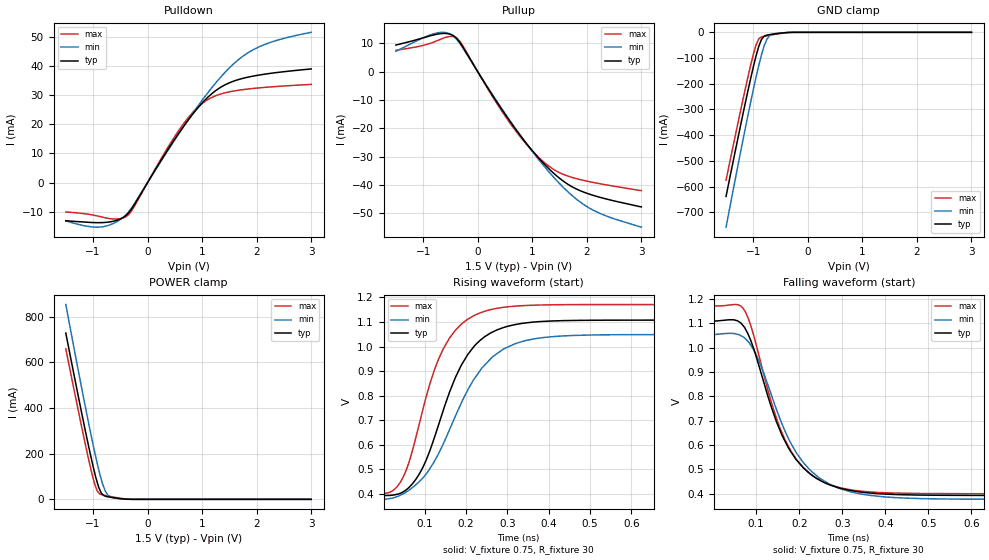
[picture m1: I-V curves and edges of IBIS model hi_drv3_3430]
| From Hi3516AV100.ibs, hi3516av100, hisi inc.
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|   Model hi_drv3_3430
[Model]   hi_drv3_3430
Model_type   I/O
Polarity   Non-Inverting
Enable   Active-High
Vinl = 0.575
Vinh = 0.925
Vmeas = 0.75
Cref = 0
Rref = 30
Vref = 0.75
| variable   typ   min   max
C_comp   3.71825p   3.5711p   3.88438p
| Subparameter   typ   min   max
[Model Spec]
Vinl   0.575   0.575   0.575
Vinh   0.925   0.925   0.925
Vmeas   0.75   0.75   0.75
Cref   0   0   0
Rref   30   30   30
Vref   0.75   0.75   0.75
| Variable   typ   min   max
[Temperature Range] 25   125   -40
| Variable   typ   min   max
[Voltage Range]   1.5   1.425   1.575
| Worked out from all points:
|   slope of the pulldown table from 0 to 0.225 V, typ, clamps not added: 32.4 ohm
|   slope of the pullup table from 0 to 0.225 V, typ, clamps not added: 32.3 ohm
|   GND clamp passes 1 mA (typ) near -0.39 V on its own axis
|   POWER clamp passes 1 mA (typ) near -0.41 V on its own axis
|   rising waveform, V_fixture 0.75, R_fixture 30: 20-80 % time 99.8ps typ, 123ps min, 87.3ps max; typ from 0.392 V to 1.11 V
|   falling waveform, V_fixture 0.75, R_fixture 30: 20-80 % time 95.3ps typ, 105ps min, 89.3ps max; typ from 1.11 V to 0.393 V
[Power_clamp]
| Note that the [POWER_clamp] voltage table is referenced to Vcc
| and is calculated using Vtable=Vcc - Vmeasured.
| Voltage   I(typ)   I(min)   I(max)
-1.5V     727.7mA    852.8mA    658.7mA
-1.125V   281.1mA    385.1mA    221.9mA
-1.025V   171mA      267.7mA    116.1mA
-975mV    120.3mA    211.6mA    70.26mA
-925mV    75.44mA    158.3mA    36.86mA
-900mV    54.88mA    133.8mA    29.99mA
-850mV    27.44mA    88.23mA    21.16mA
-775mV    14.07mA    35.68mA    16.66mA
-725mV    11.03mA    17.7mA     14.3mA
-625mV    7.126mA    6.658mA    9.778mA
-325mV    220.9uA    245.7uA    291.3uA
3V        -35.46nA   -806.7nA   -14.61nA
[Pulldown]
| Voltage   I(typ)   I(min)   I(max)
-1.5V     -13.14mA   -13.19mA   -10.14mA
-900mV    -13.81mA   -15.35mA   -11.6mA
-650mV    -13.41mA   -14.27mA   -12.51mA
-450mV    -12.06mA   -12.01mA   -12.19mA
-300mV    -9.257mA   -8.907mA   -9.903mA
600mV     17.73mA    17.57mA    18.66mA
850mV     24.05mA    24.39mA    24.58mA
1.05V     28.32mA    29.53mA    27.88mA
1.4V      33.4mA     37.49mA    30.75mA
1.85V     36.27mA    44.72mA    32.17mA
2.3V      37.66mA    48.48mA    32.93mA
3V        39.05mA    51.65mA    33.74mA
[Pullup]
| Voltage   I(typ)   I(min)   I(max)
-1.5V     9.416mA    7.214mA    7.549mA
-825mV    12.92mA    13.29mA    10.33mA
-625mV    13.53mA    13.92mA    11.89mA
-475mV    13.01mA    12.98mA    12.48mA
-325mV    10.23mA    9.904mA    10.7mA
225mV     -6.966mA   -6.776mA   -7.34mA
675mV     -19.78mA   -19.61mA   -20.34mA
1.225V    -32.72mA   -33.55mA   -32.14mA
1.6V      -39.06mA   -41.42mA   -36.48mA
1.975V    -42.75mA   -47.31mA   -38.52mA
2.325V    -44.79mA   -50.71mA   -39.85mA
3V        -47.75mA   -54.89mA   -42mA
[GND_clamp]
| Voltage   I(typ)   I(min)   I(max)
-1.5V     -638.4mA   -758mA     -574.9mA
-1.15V    -277.9mA   -376.6mA   -222.6mA
-1.05V    -180.7mA   -272.8mA   -128.8mA
-950mV    -91.74mA   -174.3mA   -48.96mA
-900mV    -54.39mA   -128.6mA   -25.47mA
-850mV    -27.43mA   -86.91mA   -17.81mA
-800mV    -14.76mA   -51.66mA   -15.26mA
-750mV    -10.72mA   -26.32mA   -13.3mA
-700mV    -8.829mA   -12.74mA   -11.42mA
-600mV    -5.884mA   -5.023mA   -7.823mA
-300mV    -153uA     -214.7uA   -185.4uA
3V        64.26nA    942.4nA    12.95nA
[Ramp]
| Variable   typ   min   max
dV/dt_r   0.433207/0.095275n 0.409108/0.104628n 0.466326/0.089268n
dV/dt_f   0.433207/0.095275n 0.409108/0.104628n 0.466326/0.089268n
R_load = 30
[Rising_Waveform]
V_fixture = 0.75
V_fixture_min = 0.7125
V_fixture_max = 0.7875
R_fixture = 30
| Time   V(typ)   V(min)   V(max)
880fs     391.8mV    376.6mV    399.9mV
46.07ps   405.1mV    397.2mV    460.5mV
65.71ps   431.4mV    418.4mV    547.2mV
86.45ps   477.8mV    447.8mV    680.3mV
133.1ps   677.3mV    560.5mV    946mV
173.6ps   870.6mV    713mV      1.065V
219.9ps   1.001V     867.4mV    1.126V
264.7ps   1.059V     958.5mV    1.152V
382.4ps   1.102V     1.036V     1.169V
18.54ns   1.108V     1.049V     1.171V
[Falling_Waveform]
V_fixture = 0.75
V_fixture_min = 0.7125
V_fixture_max = 0.7875
R_fixture = 30
| Time   V(typ)   V(min)   V(max)
1.5ps     1.109V     1.053V     1.171V
56.33ps   1.11V      1.055V     1.176V
75.45ps   1.075V     1.035V     1.145V
105.8ps   929.8mV    948.6mV    972.4mV
134ps     762.5mV    812.5mV    782.4mV
155.3ps   660.7mV    707.5mV    669.8mV
207.6ps   509.8mV    532.6mV    510.8mV
292.9ps   423.5mV    421.6mV    425.4mV
432.2ps   395.9mV    382.8mV    401.9mV
18.54ns   392.6mV    376.7mV    399.8mV
